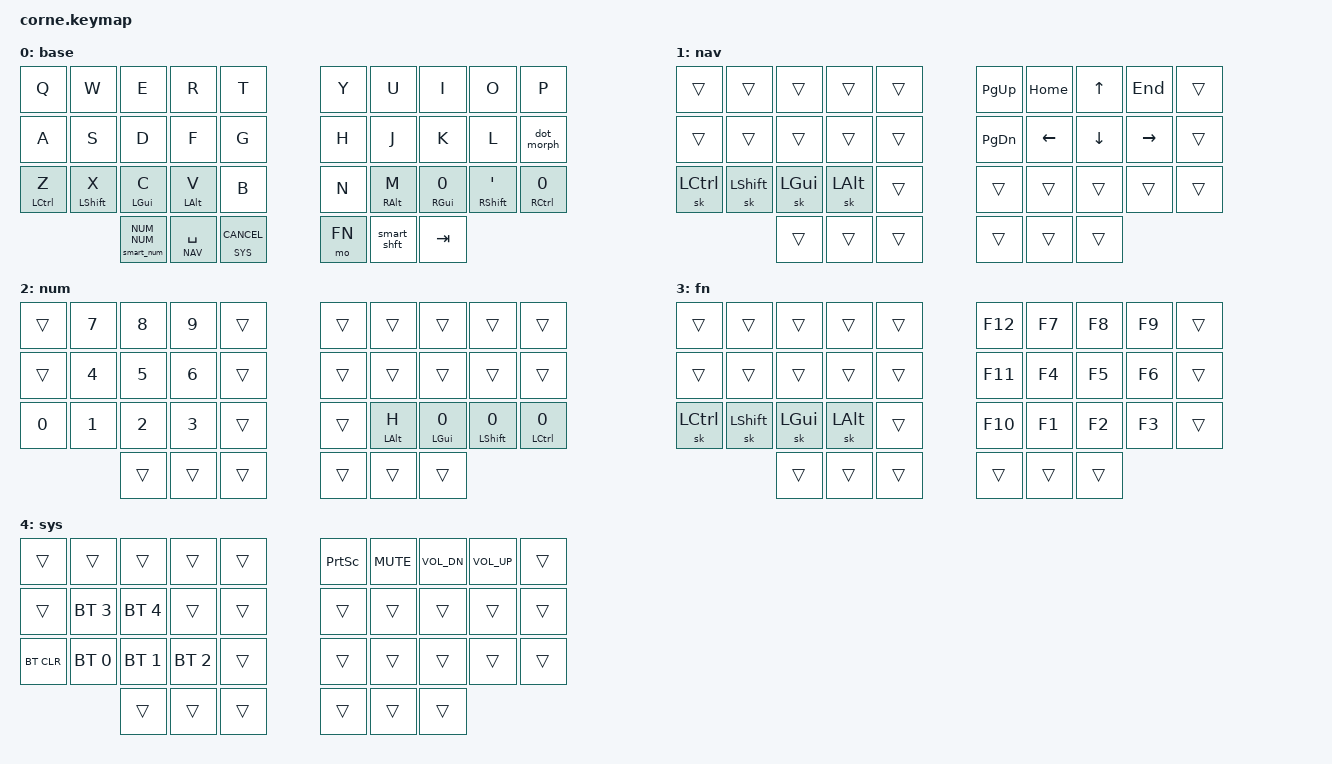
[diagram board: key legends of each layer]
#include <behaviors.dtsi>
#include <behaviors/num_word.dtsi>

#include "zmk-helpers/helper.h"
#include "zmk-helpers/key-labels/36.h"

#include <dt-bindings/zmk/keys.h>
#include <dt-bindings/zmk/bt.h>


/* layers
 * ────── */

#define DEF 0
#define NAV 1
#define NUM 2
#define FN 3
#define SYS 4

#define XXX &none
#define ___ &trans


/* global settings
 * ─────────────── */

#define QUICK_TAP_MS 175

// sticky key
&sk {
    release-after-ms = <1500>;
};

// sticky layer
&sl {
    ignore-modifiers; // allow chording sticky mods & layers
};

// layer tap
&lt {
    flavor = "balanced";
    tapping-term-ms = <200>;
    quick-tap-ms = <QUICK_TAP_MS>;
};


/* custom behaviors
 * ──────────────── */

// reuse basic mod-morph scheme
#define SIMPLE_MORPH(NAME, MOD, BINDING1, BINDING2) \
    ZMK_MOD_MORPH(NAME, \
        mods = <(MOD_L ## MOD|MOD_R ## MOD)>; \
        bindings = <BINDING1>, <BINDING2>; \
    )

// tap: qmark | shift + tap: excl
SIMPLE_MORPH(qx_morph, SFT, &kp QMARK, &kp EXCL)

// tap: comma | shift + tap: semicolon
SIMPLE_MORPH(comma_morph, SFT, &kp COMMA, &kp SEMICOLON)

// tap: dot | shift + tap: colon
SIMPLE_MORPH(dot_morph, SFT, &kp DOT, &kp COLON)


/* combos
 * ────── */

// tap: left/right parenthesis | shft + tap: less-than/greater-than
SIMPLE_MORPH(lpar_lt, SFT, &kp LPAR, &kp LT)
SIMPLE_MORPH(rpar_gt, SFT, &kp RPAR, &kp GT)

// tap: hyphen | shft + tap: underscore
SIMPLE_MORPH(hypn_und, SFT, &kp MINUS, &kp UNDER)

#include "combos.dtsi" 


/* key positions
 * ─────────────
  ╭─────────────────────╮ ╭─────────────────────╮
  │ LT4 LT3 LT2 LT1 LT0 │ │ RT0 RT1 RT2 RT3 RT4 │
  │ LM4 LM3 LM2 LM1 LM0 │ │ RM0 RM1 RM2 RM3 RM4 │
  │ LB4 LB3 LB2 LB1 LB0 │ │ RB0 RB1 RB2 RB3 RB4 │
  ╰───────╮ LH2 LH1 LH0 │ │ RH0 RH1 RH2 ╭───────╯
          ╰─────────────╯ ╰─────────────╯ */

#define KEYS_L LT0 LT1 LT2 LT3 LT4 LM0 LM1 LM2 LM3 LM4 LB0 LB1 LB2 LB3 LB4  // left hand
#define KEYS_R RT0 RT1 RT2 RT3 RT4 RM0 RM1 RM2 RM3 RM4 RB0 RB1 RB2 RB3 RB4  // right hand
#define THUMBS LH2 LH1 LH0 RH0 RH1 RH2                                      // thumbs


// use the 5 column matrix for the chocofi keyboard
/ {
  chosen {
    zmk,matrix_transform = &five_column_transform;
  };
};


/* home row mods
 * ───────────── */

#define MAKE_HRM(NAME, HOLD, TAP, TRIGGER_POS) \
    ZMK_HOLD_TAP(NAME, \
        flavor = "balanced"; \
        tapping-term-ms = <280>; \
        quick-tap-ms = <QUICK_TAP_MS>; \
        require-prior-idle-ms = <200>; \
        bindings = <HOLD>, <TAP>; \
        hold-trigger-key-positions = <TRIGGER_POS>; \
        hold-trigger-on-release; \
    )
MAKE_HRM(hml, &kp, &kp, KEYS_R THUMBS)  // left-hand HRMs
MAKE_HRM(hmr, &kp, &kp, KEYS_L THUMBS)  // right-hand HRMs
MAKE_HRM(hmr_cm, &kp, &comma_morph, KEYS_L THUMBS)  // right hand - comma         + semicolon
MAKE_HRM(hmr_dt, &kp, &dot_morph, KEYS_L THUMBS)    // right hand - period        + colon
MAKE_HRM(hmr_qx, &kp, &qx_morph, KEYS_L THUMBS)     // right hand - question mark + exclamation point

// HRM combo hack - workaround for lack of tap-only combos (ZMK issue #544)
#define ZMK_COMBO_8(NAME, TAP, KEYPOS, LAYERS, COMBO_TERM, COMBO_IDLE, HOLD, SIDE) \
    MAKE_HRM(hm_combo_ ## NAME, &kp, TAP, SIDE THUMBS) \
    ZMK_COMBO_6(NAME, &hm_combo_ ## NAME HOLD 0, KEYPOS, LAYERS, COMBO_TERM, COMBO_IDLE)


/* smart shift
 * ─────────── */

// tap: sticky-shift | shift + tap/double-tap: caps-word | hold: shift
ZMK_MOD_MORPH(smart_shft,
    bindings = <&sk LSHFT>, <&caps_word>;
    mods = <(MOD_LSFT)>;
)
&caps_word {  // mods deactivate caps-word, requires PR #1451
    /delete-property/ ignore-modifiers;
};


/* smart num
 * ───────── */

// tap: num-word | hold: num-layer
#define SMART_NUM &smart_num NUM NUM
ZMK_HOLD_TAP(smart_num, bindings = <&mo>, <&num_word>; flavor = "balanced";
             tapping-term-ms = <200>; quick-tap-ms = <QUICK_TAP_MS>;)
ZMK_TAP_DANCE(num_dance, bindings = <&num_word NUM>;
              tapping-term-ms = <200>;)

/* key mappings
 * ──────────── */

ZMK_LAYER(base,
// ╭────────────┬────────────┬────────────┬────────────┬────────────╮   ╭───────────┬────────────┬───────────────┬───────────────┬───────────────╮
// │     q      │     w      │     e      │     r      │     t      │   │     y     │      u     │       i       │       o       │       p       │
      &kp Q        &kp W        &kp E        &kp R        &kp T            &kp Y        &kp U         &kp I           &kp O           &kp P
// ├────────────┼────────────┼────────────┼────────────┼────────────┤   ├───────────┼────────────┼───────────────┼───────────────┼───────────────┤
// │     a      │     s      │     d      │     f      │     g      │   │     h     │      j     │       k       │       l       │      .:       │
      &kp A        &kp S        &kp D        &kp F        &kp G            &kp H        &kp J         &kp K           &kp L          &dot_morph
// ├────────────┼────────────┼────────────┼────────────┼────────────┤   ├───────────┼────────────┼───────────────┼───────────────┼───────────────┤
// │ z control  │  x shift   │   c gui    │   v alt    │     b      │   │     N     │     m      │    ,; gui     │      '"       │  ?! control   │
    &hml LCTRL Z &hml LSHFT X &hml LGUI C  &hml LALT V    &kp B            &kp N     &hmr RALT M  &hmr_cm RGUI 0  &hmr RSHFT SQT  &hmr_qx RCTRL 0
// ╰────────────┴────────────┼────────────┼────────────┼────────────┤   ├───────────┼────────────┼───────────────┼───────────────┴───────────────╯
//                           │    num     │ space/nav  │    sys     │   │   func    │ smart shift│      tab      │
                               SMART_NUM &lt NAV SPACE &lt SYS K_CANCEL    &mo FN     &smart_shft     &kp TAB
//                           ╰────────────┴────────────┴────────────╯   ╰───────────┴────────────┴───────────────╯
)


/*
ZMK_LAYER(base,
// ╭────────────┬────────────┬────────────┬────────────┬────────────╮   ╭───────────┬────────────┬───────────────┬───────────────┬───────────────╮
// │     q      │     w      │     f      │     p      │     b      │   │     j     │      l     │       u       │       y       │      '"       │
      &kp Q        &kp W        &kp F        &kp P        &kp B            &kp J        &kp L         &kp U           &kp Y           &kp SQT
// ├────────────┼────────────┼────────────┼────────────┼────────────┤   ├───────────┼────────────┼───────────────┼───────────────┼───────────────┤
// │     a      │     r      │     s      │     t      │     g      │   │     m     │      n     │       e       │       i       │       o       │
      &kp A        &kp R        &kp S        &kp T        &kp G            &kp M        &kp N         &kp E           &kp I           &kp O
// ├────────────┼────────────┼────────────┼────────────┼────────────┤   ├───────────┼────────────┼───────────────┼───────────────┼───────────────┤
// │ z control  │  x shift   │   c gui    │   d alt    │     v      │   │     k     │     h      │    ,; gui     │   .: shift    │  ?! control   │
    &hml LCTRL Z &hml LSHFT X &hml LGUI C  &hml LALT D    &kp V            &kp K     &hmr RALT H  &hmr_cm RGUI 0  &hmr_dt RSHFT 0 &hmr_qx RCTRL 0
// ╰────────────┴────────────┼────────────┼────────────┼────────────┤   ├───────────┼────────────┼───────────────┼───────────────┴───────────────╯
//                           │    num     │ space/nav  │    sys     │   │   func    │ smart shift│      tab      │
                               SMART_NUM &lt NAV SPACE &lt SYS K_CANCEL    &mo FN     &smart_shft     &kp TAB
//                           ╰────────────┴────────────┴────────────╯   ╰───────────┴────────────┴───────────────╯
)
*/

ZMK_LAYER(nav,
// ╭───────────┬───────────┬───────────┬───────────┬───────────╮   ╭───────────┬───────────┬───────────┬───────────┬───────────╮
// │     -     │     -     │     -     │     -     │     -     │   │  page up  │   home    │    up     │    end    │     -     │
        ___         ___         ___         ___         ___          &kp PG_UP   &kp HOME     &kp UP      &kp END       ___    
// ├───────────┼───────────┼───────────┼───────────┼───────────┤   ├───────────┼───────────┼───────────┼───────────┼───────────┤
// │     -     │     -     │     -     │     -     │     -     │   │ page down │   left    │   down    │   right   │     -     │
        ___         ___         ___         ___         ___          &kp PG_DN   &kp LEFT    &kp DOWN    &kp RIGHT      ___
// ├───────────┼───────────┼───────────┼───────────┼───────────┤   ├───────────┼───────────┼───────────┼───────────┼───────────┤
// │  control  │   shift   │    gui    │    alt    │     -     │   │     -     │     -     │     -     │     -     │     -     │
     &sk LCTRL   &sk LSHFT   &sk LGUI    &sk LALT       ___             ___         ___         ___         ___         ___
// ╰───────────┴───────────┼───────────┼───────────┼───────────┤   ├───────────┼───────────┼───────────┼───────────┴───────────╯
//                         │     -     │     -     │     -     │   │     -     │     -     │     -     │
                                ___         ___         ___             ___         ___         ___
//                         ╰───────────┴───────────┴───────────╯   ╰───────────┴───────────┴───────────╯
)

// use left-hand meta keys because many apps break with numbers and right hand meta keys
// e.g. setting headers in onenote with control+alt+<num>
ZMK_LAYER(num,
 // ╭───────────┬───────────┬───────────┬───────────┬───────────╮  ╭───────────┬─────────────┬──────────────┬──────────────┬──────────────╮
 // │     -     │     7     │     8     │     9     │     -     │  │     -     │      -      │       -      │       -      │       -      │
         ___       &kp N7      &kp N8      &kp N9        ___            ___          ___           ___           ___           ___
 // ├───────────┼───────────┼───────────┼───────────┼───────────┤  ├───────────┼─────────────┼──────────────┼──────────────┼──────────────┤
 // │     -     │     4     │     5     │     5     │     -     │  │     -     │      -      │       -      │       -      │       -      │
         ___       &kp N4      &kp N5      &kp N6        ___            ___          ___           ___           ___          ___
 // ├───────────┼───────────┼───────────┼───────────┼───────────┤  ├───────────┼─────────────┼──────────────┼──────────────┼──────────────┤
 // │     0     │     1     │     2     │     3     │     -     │  │     -     │    h alt    │    , ; gui   │   . : shift  │  ? ! control │
       &kp N0      &kp N1      &kp N2      &kp N3        ___            ___    &hmr LALT H   &hmr_cm LGUI 0 &hmr_dt LSHFT 0 &hmr_qx LCTRL 0
 // ╰───────────┴───────────┼───────────┼───────────┼───────────┤  ├───────────┼─────────────┼──────────────┼──────────────┴──────────────╯
 //                         │     -     │     -     │     -     │  │     -     │      -      │       -      │
                                 ___         ___         ___            ___          ___           ___
 //                         ╰───────────┴───────────┴───────────╯  ╰───────────┴─────────────┴──────────────╯
)

ZMK_LAYER(fn,
// ╭───────────┬───────────┬───────────┬───────────┬───────────╮   ╭───────────┬───────────┬───────────┬───────────┬───────────╮
// │     -     │     -     │     -     │     -     │     -     │   │     -     │     -     │     -     │     -     │     -     │
        ___         ___         ___         ___         ___           &kp F12     &kp F7      &kp F8      &kp F9        ___
// ├───────────┼───────────┼───────────┼───────────┼───────────┤   ├───────────┼───────────┼───────────┼───────────┼───────────┤
// │     -     │     -     │     -     │     -     │     -     │   │     -     │     -     │     -     │     -     │     -     │
        ___         ___         ___         ___         ___           &kp F11     &kp F4      &kp F5      &kp F6        ___
// ├───────────┼───────────┼───────────┼───────────┼───────────┤   ├───────────┼───────────┼───────────┼───────────┼───────────┤
// │  control  │   shift   │    gui    │    alt    │     -     │   │     -     │     -     │     -     │     -     │
     &sk LCTRL   &sk LSHFT   &sk LGUI    &sk LALT       ___           &kp F10     &kp F1      &kp F2      &kp F3        ___
// ╰───────────┴───────────┼───────────┼───────────┼───────────┤   ├───────────┼───────────┼───────────┼───────────┴───────────╯
//                         │     -     │     -     │     -     │   │     -     │     -     │     -     │
                                ___         ___         ___             ___         ___         ___
//                         ╰───────────┴───────────┴───────────╯   ╰───────────┴───────────┴───────────╯
)

ZMK_LAYER(sys,
// ╭────────────┬────────────┬────────────┬────────────┬───────────╮   ╭───────────┬───────────┬───────────┬───────────┬───────────╮
// │     -      │     -      │     -      │     -      │     -     │   │ screenshot│    mute   │  vol down │  vol up   │     -     │
        ___         ___           ___          ___          ___          &kp PSCRN  &kp C_MUTE &kp C_VOL_DN &kp C_VOL_UP    ___
// ├────────────┼────────────┼────────────┼────────────┼───────────┤   ├───────────┼───────────┼───────────┼───────────┼───────────┤
// │     -      │     -      │     -      │     -      │     -     │   │     -     │     -     │     -     │     -     │     -     │
        ___      &bt BT_SEL 3 &bt BT_SEL 4     ___          ___             ___         ___         ___         ___         ___
// ├────────────┼────────────┼────────────┼────────────┼───────────┤   ├───────────┼───────────┼───────────┼───────────┼───────────┤
// │      -     │      -     │      -     │     -      │     -     │   │     -     │     -     │     -     │     -     │     -     │
     &bt BT_CLR  &bt BT_SEL 0 &bt BT_SEL 1 &bt BT_SEL 2     ___             ___         ___         ___         ___         ___
// ╰────────────┴────────────┼────────────┼────────────┼───────────┤   ├───────────┼───────────┼───────────┼───────────┴───────────╯
//                           │     -      │     -      │     -     │   │     -     │     -     │     -     │
                                  ___          ___          ___             ___         ___         ___
//                           ╰────────────┴────────────┴───────────╯   ╰───────────┴───────────┴───────────╯
)
